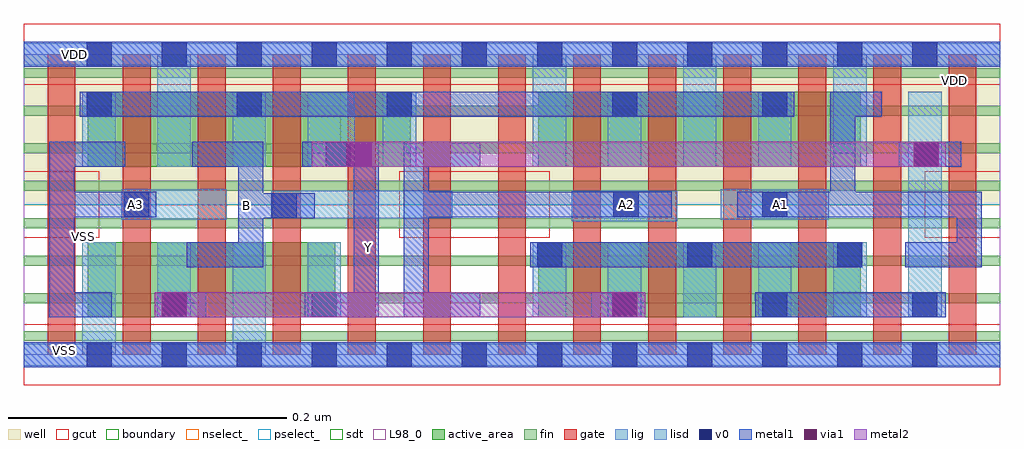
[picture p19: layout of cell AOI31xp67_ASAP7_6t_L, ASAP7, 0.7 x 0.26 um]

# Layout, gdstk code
import gdstk
lib = gdstk.Library(unit=1e-6, precision=2.5e-10)
def R(c, l, rs):  # rectangles x0, y0, x1, y1
    for r in rs: c.add(gdstk.rectangle(r[:2], r[2:], *l))
def A(c, l, x, y, w, h, nx, ny, dx, dy):  # array of equal rectangles
    R(c, l, [(x+i*dx, y+j*dy, x+i*dx+w, y+j*dy+h) for i in range(nx) for j in range(ny)])
def P(c, l, *ps):  # polygons
    for p in ps: c.add(gdstk.Polygon(p, *l))
well = (1, 0)
fin = (2, 0)
gate = (7, 0)
gcut = (10, 0)
active_area = (11, 0)
nselect_ = (12, 0)
pselect_ = (13, 0)
lig = (16, 0)
lisd = (17, 0)
v0 = (18, 0)
metal1 = (19, 0)
metal2 = (20, 0)
via1 = (21, 0)
sdt = (88, 0)
L98_0 = (98, 0)
boundary = (100, 0)

aoi31xp67_asap7_6t_l = lib.new_cell('AOI31xp67_ASAP7_6t_L')
R(aoi31xp67_asap7_6t_l, well, [(0,0.108,0.702,0.216)])
A(aoi31xp67_asap7_6t_l, fin, 0, 0.01, 0.702, 0.007, 1, 8, 0, 0.027)
A(aoi31xp67_asap7_6t_l, gate, 0.017, 0, 0.02, 0.216, 13, 1, 0.054, 0)
R(aoi31xp67_asap7_6t_l, gcut, [(0,-0.022,0.702,0.022), (0,0.084,0.054,0.132), (0.27,0.084,0.378,0.132), (0.648,0.084,0.702,0.132), (0,0.194,0.702,0.238)])
R(aoi31xp67_asap7_6t_l, active_area, [(0.046,0.027,0.224,0.081), (0.37,0.027,0.602,0.081), (0.046,0.135,0.278,0.189), (0.37,0.135,0.602,0.189)])
R(aoi31xp67_asap7_6t_l, nselect_, [(0,0,0.702,0.108)])
R(aoi31xp67_asap7_6t_l, pselect_, [(0,0.108,0.702,0.216)])
R(aoi31xp67_asap7_6t_l, lig, [(0,-0.008,0.702,0.008), (0.394,0.096,0.47,0.118), (0.07,0.097,0.146,0.119), (0.501,0.097,0.579,0.119), (0.178,0.098,0.308,0.118), (0,0.208,0.702,0.224)])
A(aoi31xp67_asap7_6t_l, lisd, 0.366, 0.027, 0.024, 0.054, 5, 1, 0.054, 0)
A(aoi31xp67_asap7_6t_l, lisd, 0.042, 0.135, 0.024, 0.054, 3, 1, 0.108, 0)
A(aoi31xp67_asap7_6t_l, lisd, 0.366, 0.135, 0.024, 0.081, 3, 1, 0.108, 0)
R(aoi31xp67_asap7_6t_l, lisd, [(0.042,0,0.066,0.081), (0.15,0,0.174,0.081), (0.096,0.027,0.12,0.081), (0.204,0.027,0.228,0.081), (0.636,0.027,0.66,0.189), (0.096,0.135,0.12,0.216), (0.204,0.135,0.238,0.189), (0.42,0.135,0.444,0.189), (0.528,0.135,0.552,0.189)])
A(aoi31xp67_asap7_6t_l, v0, 0.045, -0.009, 0.018, 0.018, 12, 2, 0.054, 0.216)
A(aoi31xp67_asap7_6t_l, v0, 0.423, 0.027, 0.018, 0.018, 3, 1, 0.108, 0)
A(aoi31xp67_asap7_6t_l, v0, 0.369, 0.063, 0.018, 0.018, 3, 1, 0.108, 0)
A(aoi31xp67_asap7_6t_l, v0, 0.045, 0.171, 0.018, 0.018, 3, 1, 0.108, 0)
R(aoi31xp67_asap7_6t_l, v0, [(0.099,0.027,0.117,0.045), (0.207,0.027,0.225,0.045), (0.178,0.098,0.196,0.116), (0.072,0.099,0.09,0.117), (0.424,0.099,0.442,0.117), (0.531,0.099,0.549,0.117), (0.217,0.135,0.235,0.153), (0.64,0.135,0.658,0.153), (0.423,0.171,0.441,0.189), (0.531,0.171,0.549,0.189)])
R(aoi31xp67_asap7_6t_l, metal1, [(0,-0.009,0.702,0.009), (0.094,0.027,0.131,0.045), (0.408,0.027,0.447,0.045), (0.526,0.027,0.663,0.045), (0.364,0.063,0.603,0.081), (0.629,0.135,0.674,0.153), (0.04,0.171,0.554,0.189), (0,0.207,0.702,0.225)])
P(aoi31xp67_asap7_6t_l, metal1, [(0.689,0.117),(0.598,0.117),(0.598,0.171),(0.617,0.171),(0.617,0.189),(0.58,0.189),(0.58,0.117),(0.513,0.117),(0.513,0.099),(0.671,0.099),(0.671,0.081),(0.634,0.081),(0.634,0.063),(0.689,0.063)],
  [(0.466,0.117),(0.291,0.117),(0.291,0.135),(0.328,0.135),(0.328,0.153),(0.273,0.153),(0.273,0.027),(0.328,0.027),(0.328,0.045),(0.291,0.045),(0.291,0.099),(0.466,0.099)],
  [(0.255,0.153),(0.2,0.153),(0.2,0.135),(0.237,0.135),(0.237,0.045),(0.202,0.045),(0.202,0.027),(0.255,0.027)],
  [(0.209,0.116),(0.172,0.116),(0.172,0.153),(0.121,0.153),(0.121,0.135),(0.154,0.135),(0.154,0.081),(0.117,0.081),(0.117,0.063),(0.172,0.063),(0.172,0.098),(0.209,0.098)],
  [(0.095,0.117),(0.036,0.117),(0.036,0.135),(0.073,0.135),(0.073,0.153),(0.018,0.153),(0.018,0.027),(0.063,0.027),(0.063,0.045),(0.036,0.045),(0.036,0.099),(0.095,0.099)])
R(aoi31xp67_asap7_6t_l, metal2, [(0.094,0.027,0.447,0.045), (0.207,0.135,0.663,0.153)])
R(aoi31xp67_asap7_6t_l, via1, [(0.099,0.027,0.117,0.045), (0.423,0.027,0.441,0.045), (0.232,0.135,0.25,0.153), (0.64,0.135,0.658,0.153)])
A(aoi31xp67_asap7_6t_l, sdt, 0.042, 0.027, 0.024, 0.054, 4, 1, 0.054, 0)
A(aoi31xp67_asap7_6t_l, sdt, 0.366, 0.027, 0.024, 0.054, 5, 2, 0.054, 0.108)
A(aoi31xp67_asap7_6t_l, sdt, 0.042, 0.135, 0.024, 0.054, 5, 1, 0.054, 0)
R(aoi31xp67_asap7_6t_l, L98_0, [(0,0,0.702,0.216)])
R(aoi31xp67_asap7_6t_l, boundary, [(0,0,0.702,0.216)])
aoi31xp67_asap7_6t_l.add(gdstk.Label('VDD', (0.669,0.197), layer=1, texttype=251))
aoi31xp67_asap7_6t_l.add(gdstk.Label('Y', (0.248,0.077), layer=19, texttype=251))
aoi31xp67_asap7_6t_l.add(gdstk.Label('A2', (0.433,0.108), layer=19, texttype=251))
aoi31xp67_asap7_6t_l.add(gdstk.Label('A1', (0.544,0.108), layer=19, texttype=251))
aoi31xp67_asap7_6t_l.add(gdstk.Label('B', (0.16,0.107), layer=19, texttype=251))
aoi31xp67_asap7_6t_l.add(gdstk.Label('A3', (0.08,0.108), layer=19, texttype=251))
aoi31xp67_asap7_6t_l.add(gdstk.Label('VDD', (0.036,0.216), layer=19, texttype=251))
aoi31xp67_asap7_6t_l.add(gdstk.Label('VSS', (0.029,0.003), layer=19, texttype=251))
aoi31xp67_asap7_6t_l.add(gdstk.Label('VSS', (0.043,0.085), layer=3, texttype=251))

lib.write_gds('AOI31xp67_ASAP7_6t_L.gds')
